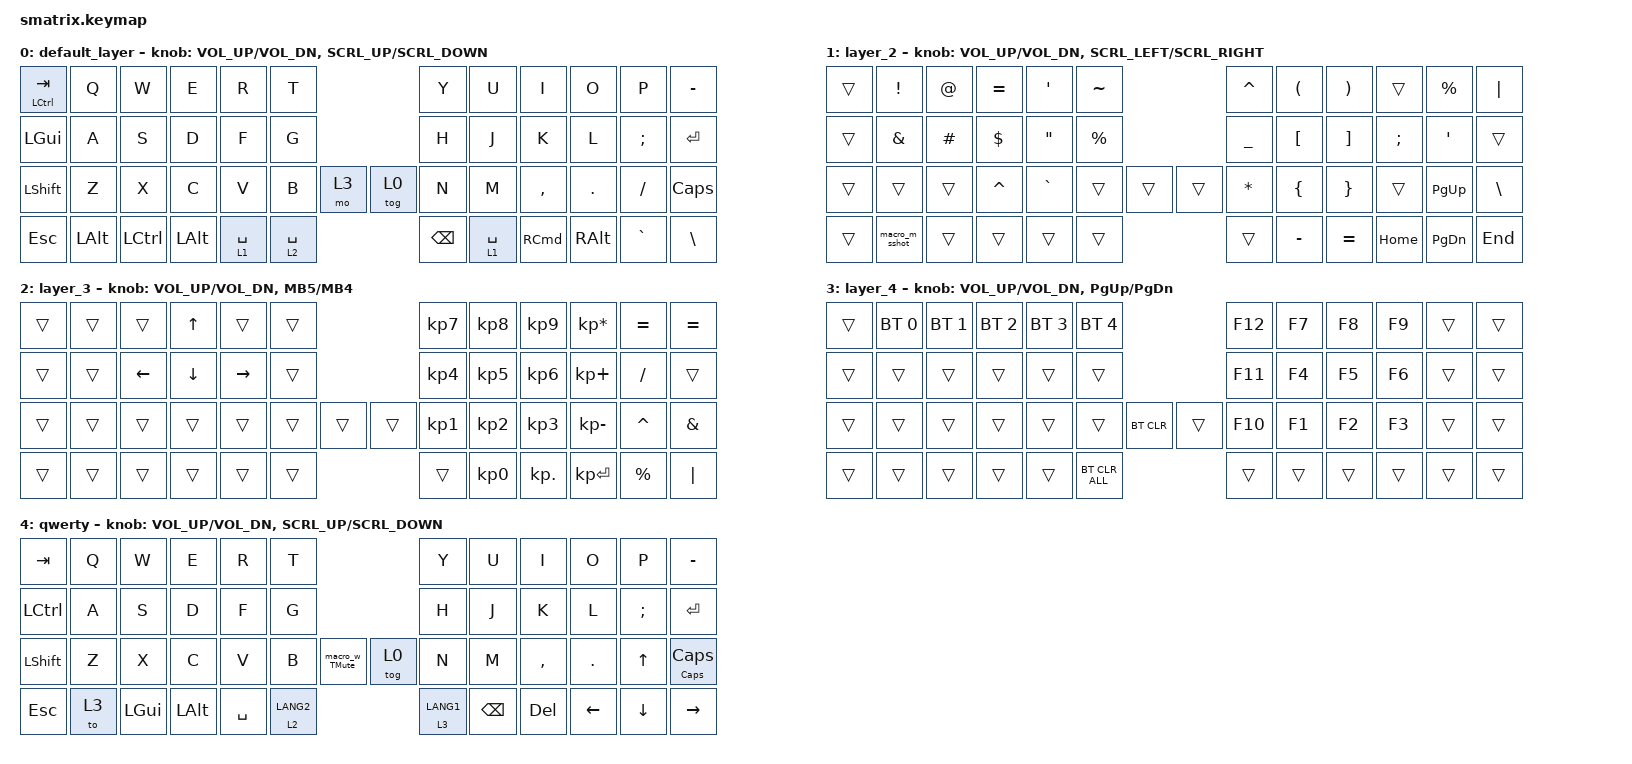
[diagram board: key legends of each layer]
#define ZMK_POINTING_DEFAULT_MOVE_VAL 800
#define ZMK_POINTING_DEFAULT_SCRL_VAL 120

#include <input/processors.dtsi>
#include <zephyr/dt-bindings/input/input-event-codes.h>
#include <behaviors.dtsi>
#include <dt-bindings/zmk/bt.h>
#include <dt-bindings/zmk/keys.h>
#include <dt-bindings/zmk/pointing.h>

&mt {
    flavor = "balanced";
    quick-tap-ms = <0>;
};

&msc {
    delay-ms = <0>;
    trigger-period-ms = <10>;
    time-to-max-speed-ms = <0>;
    acceleration-exponent = <0>;
};

/ {
    input_processors {
        zip_wheel_scaler: zip_wheel_scaler {
            compatible = "zmk,input-processor-scaler";
            #input-processor-cells = <2>;
            type = <INPUT_EV_REL>;
            codes = <INPUT_REL_WHEEL>;
            track-remainders;
        };
    };
};

&msc_input_listener {
    warp {
        layers = <0>;
        input-processors = <&zip_wheel_scaler 4 1>;
    };

    precision {
        layers = <1>;
        input-processors = <&zip_wheel_scaler 1 2>;
    };
};

/ {
    behaviors {
        rot_kp: sensor_rotate_kp {
            compatible = "zmk,behavior-sensor-rotate-var";
            #sensor-binding-cells = <2>;
            bindings = <&kp>, <&kp>;
        };

        mouse_click: mouse_button_kp {
            compatible = "zmk,behavior-sensor-rotate-var";
            #sensor-binding-cells = <2>;
            bindings = <&mkp>, <&mkp>;
        };

        mouse_scrl: mouse_wheel_scrl {
            compatible = "zmk,behavior-sensor-rotate-var";
            #sensor-binding-cells = <2>;
            bindings = <&msc>, <&msc>;

            tap-ms = <10>;
        };

        macro_w_sshot: macro_w_sshot {
            compatible = "zmk,behavior-macro";
            label = "Win Screenshot Macro";
            #binding-cells = <0>;
            bindings =
                <&macro_press>,
                <&kp LGUI &kp LSHFT>,
                <&macro_tap>,
                <&kp S>,
                <&macro_release>,
                <&kp LGUI &kp LSHFT>;
        };

        macro_m_sshot: macro_m_sshot {
            compatible = "zmk,behavior-macro";
            label = "Mac Screenshot Macro";
            #binding-cells = <0>;
            bindings =
                <&macro_press>,
                <&kp LGUI &kp LSHFT>,
                <&macro_tap>,
                <&kp N4>,
                <&macro_release>,
                <&kp LGUI &kp LSHFT>;
        };

        macro_w_TMute: macro_w_TMute {
            compatible = "zmk,behavior-macro";
            label = "Win Teams Mic Mute";
            #binding-cells = <0>;
            bindings =
                <&macro_press>,
                <&kp LGUI &kp LALT>,
                <&macro_tap>,
                <&kp K>,
                <&macro_release>,
                <&kp LGUI &kp LALT>;
        };
    };

    macros {
    };

    keymap {
        compatible = "zmk,keymap";

        default_layer {
            bindings = <
&mt LCTRL TAB  &kp Q         &kp W             &kp E     &kp R        &kp T                         &kp Y          &kp U        &kp I              &kp O          &kp P          &kp MINUS
&kp LGUI       &kp A         &kp S             &kp D     &kp F        &kp G                         &kp H          &kp J        &kp K              &kp L          &kp SEMICOLON  &kp ENTER
&kp LSHFT      &kp Z         &kp X             &kp C     &kp V        &kp B        &mo 3    &tog 0  &kp N          &kp M        &kp COMMA          &kp PERIOD     &kp SLASH      &kp CAPSLOCK
&kp ESC        &kp LEFT_ALT  &kp LEFT_CONTROL  &kp LALT  &lt 1 SPACE  &lt 2 SPACE                   &kp BACKSPACE  &lt 1 SPACE  &kp RIGHT_COMMAND  &kp RIGHT_ALT  &kp GRAVE      &kp BACKSLASH
            >;

            sensor-bindings = <&rot_kp C_VOL_UP C_VOL_DN    &mouse_scrl SCRL_UP SCRL_DOWN>;
        };

        layer_2 {
            bindings = <
&trans  &kp EXCL        &kp AT    &kp EQUAL   &kp SQT    &kp TILDE                      &kp CARET     &kp LEFT_PARENTHESIS  &kp RIGHT_PARENTHESIS  &trans         &kp PERCENT  &kp PIPE
&trans  &kp AMPS        &kp HASH  &kp DOLLAR  &kp DQT    &kp PERCENT                    &kp UNDER     &kp LEFT_BRACKET      &kp RIGHT_BRACKET      &kp SEMICOLON  &kp SQT      &trans
&trans  &trans          &trans    &kp CARET   &kp GRAVE  &trans       &trans    &trans  &kp ASTERISK  &kp LEFT_BRACE        &kp RIGHT_BRACE        &trans         &kp PG_UP    &kp BSLH
&trans  &macro_m_sshot  &trans    &trans      &trans     &trans                         &trans        &kp MINUS             &kp EQUAL              &kp HOME       &kp PG_DN    &kp END
            >;

            sensor-bindings = <&rot_kp C_VOL_UP C_VOL_DN    &mouse_scrl SCRL_LEFT SCRL_RIGHT>;
        };

        layer_3 {
            bindings = <
&trans  &trans  &trans    &kp UP_ARROW  &trans     &trans                    &kp KP_N7        &kp KP_N8  &kp KP_N9   &kp KP_ASTERISK  &kp EQUAL    &kp EQUAL
&trans  &trans  &kp LEFT  &kp DOWN      &kp RIGHT  &trans                    &kp KP_N4        &kp KP_N5  &kp KP_N6   &kp KP_PLUS      &kp SLASH    &trans
&trans  &trans  &trans    &trans        &trans     &trans  &trans    &trans  &kp KP_NUMBER_1  &kp KP_N2  &kp KP_N3   &kp KP_MINUS     &kp CARET    &kp AMPS
&trans  &trans  &trans    &trans        &trans     &trans                    &trans           &kp KP_N0  &kp KP_DOT  &kp KP_ENTER     &kp PERCENT  &kp PIPE
            >;

            sensor-bindings = <&rot_kp C_VOL_UP C_VOL_DN    &mouse_click MB5 MB4>;
        };

        layer_4 {
            bindings = <
&trans  &bt BT_SEL 0  &bt BT_SEL 1  &bt BT_SEL 2  &bt BT_SEL 3  &bt BT_SEL 4                          &kp F12  &kp F7  &kp F8  &kp F9  &trans  &trans
&trans  &trans        &trans        &trans        &trans        &trans                                &kp F11  &kp F4  &kp F5  &kp F6  &trans  &trans
&trans  &trans        &trans        &trans        &trans        &trans          &bt BT_CLR    &trans  &kp F10  &kp F1  &kp F2  &kp F3  &trans  &trans
&trans  &trans        &trans        &trans        &trans        &bt BT_CLR_ALL                        &trans   &trans  &trans  &trans  &trans  &trans
            >;

            sensor-bindings = <&rot_kp C_VOL_UP C_VOL_DN    &rot_kp PG_UP PG_DN>;
        };

        qwerty {
            bindings = <
&kp TAB    &kp Q  &kp W     &kp E     &kp R      &kp T                                  &kp Y        &kp U          &kp I      &kp O       &kp P     &kp MINUS
&kp LCTRL  &kp A  &kp S     &kp D     &kp F      &kp G                                  &kp H        &kp J          &kp K      &kp L       &kp SEMI  &kp ENTER
&kp LSHFT  &kp Z  &kp X     &kp C     &kp V      &kp B        &macro_w_TMute    &tog 0  &kp N        &kp M          &kp COMMA  &kp PERIOD  &kp UP    &mt CAPSLOCK CAPSLOCK
&kp ESC    &to 3  &kp LGUI  &kp LALT  &kp SPACE  &lt 2 LANG2                            &lt 3 LANG1  &kp BACKSPACE  &kp DEL    &kp LEFT    &kp DOWN  &kp RIGHT
            >;

            sensor-bindings = <&rot_kp C_VOL_UP C_VOL_DN    &mouse_scrl SCRL_UP SCRL_DOWN>;
        };
    };
};
